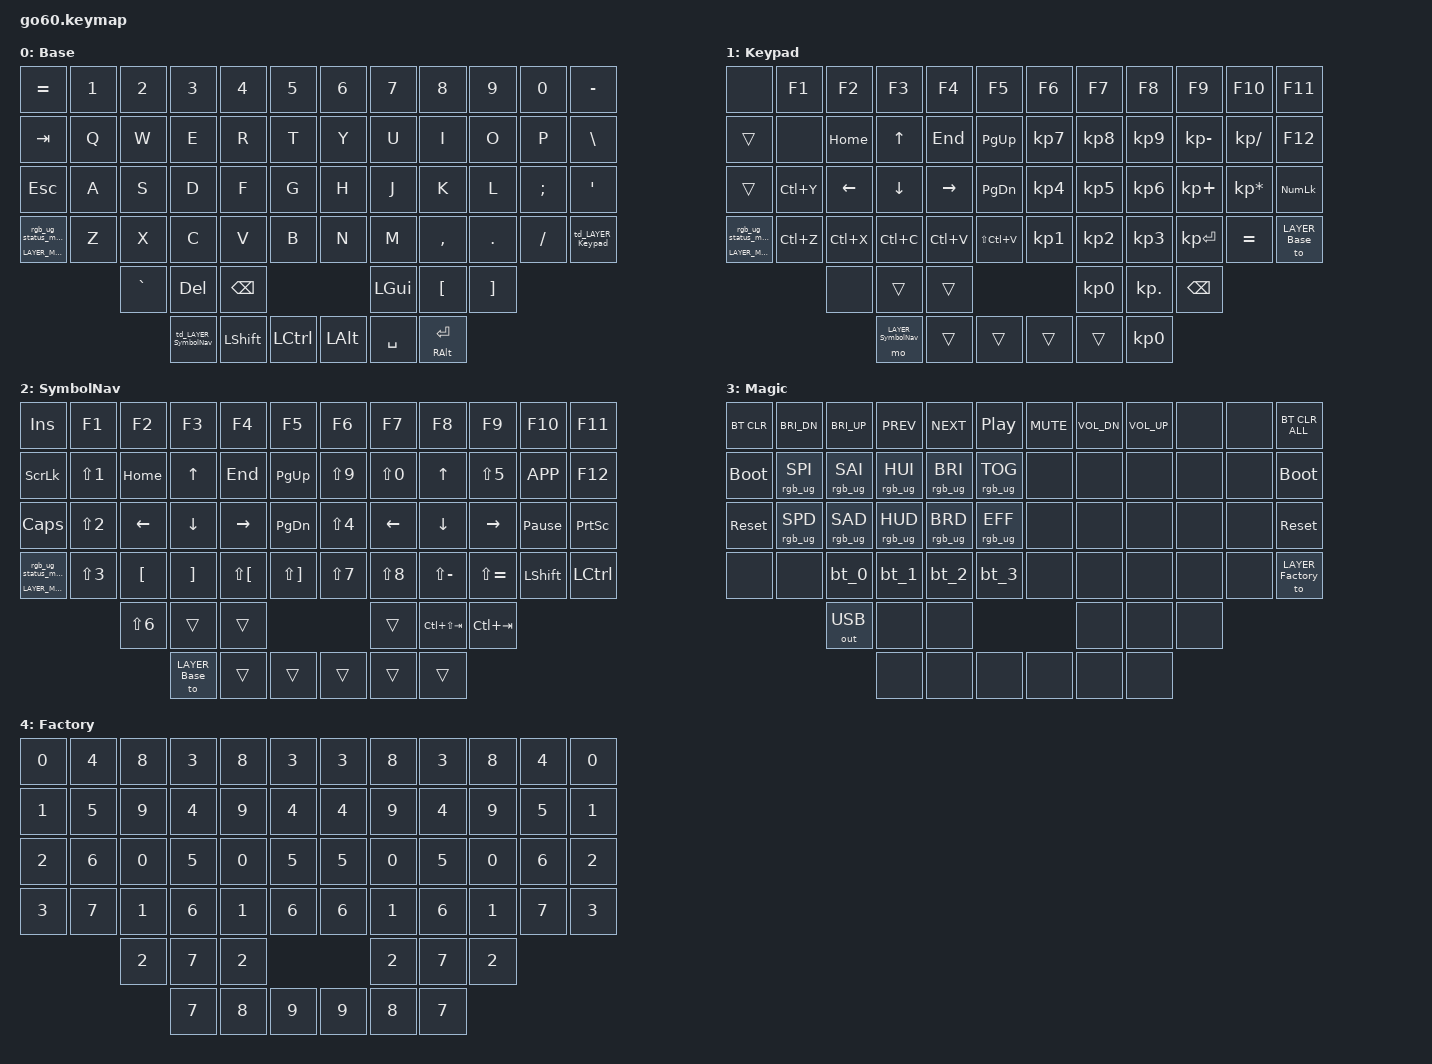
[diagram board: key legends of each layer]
/*
 * Go60 keymap: edit this file to change the layout, then run `go60-build` and `go60-flash`.
 * Started from the Layout Editor layout "Factory Default Layout" (49ea1794).
 *
 * Each layer's bindings are laid out like the keyboard, one text row per key row:
 *   R1-R4  left half C6 C5 C4 C3 C2 C1  |  right half C1 C2 C3 C4 C5 C6
 *          (C1 = inner index-finger column, C6 = outer pinky column; R1 = number row, R3 = home row)
 *   R5     the extra bottom keys: left C4 C3 C2  |  right C2 C3 C4
 *   T      thumb keys, in this order: left T1 T2 T3  |  right T3 T2 T1  (T1 = next to C2R5, T3 = nearest the middle)
 *
 * The // line under each row shows what the keys type with the Finnish layout (▽ = same as the base
 * layer, · = nothing). It's a comment for reading only; `go60-keymap format` refreshes it after edits.
 *
 * Every layer needs exactly 60 bindings. Common ones:
 *   &kp X            press key X (US key names: &kp LBKT types å with the Finnish layout)
 *   &kp RA(N7)       AltGr+7 = {     &kp LS(N7) = Shift+7 = /     (see go60-keys / finnish-layout.md)
 *   &mt LCTRL A      tap: A, hold: Ctrl          &mo LAYER_X   layer X while held
 *   &td_LAYER_X      hold: layer X, double-tap: lock layer X     &to LAYER_X   switch to layer X
 *   &trans           same as the layer below     &none         nothing
 *
 * Check your edits with `go60-keymap check` (validates and lists what changed since the last flash).
 * Put your own behaviors and macros in the "custom behaviors" section, not in the generated ones.
 */

#include <behaviors.dtsi>

#include <dt-bindings/zmk/bt.h>
#include <dt-bindings/zmk/ext_power.h>
#include <dt-bindings/zmk/keys.h>
#include <dt-bindings/zmk/outputs.h>
#include <dt-bindings/zmk/rgb.h>
#include <dt-bindings/zmk/input_transform.h>
#include <dt-bindings/zmk/pointing.h>

#include <input/processors.dtsi>
#include <zephyr/dt-bindings/input/input-event-codes.h>

// Layers (the number is the layer's position in the keymap below)
#define LAYER_Base 0
#define LAYER_Keypad 1
#define LAYER_SymbolNav 2
#define LAYER_Magic 3
#define LAYER_Factory 4

/ {
    input_processors {
        zip_click_to_right_click_mapper: zip_click_to_right_click_mapper {
            compatible = "zmk,input-processor-code-mapper";
            #input-processor-cells = <0>;
            type = <INPUT_EV_KEY>;
            map = <INPUT_BTN_0 INPUT_BTN_1>;
        };
    };

    // Standard MoErgo behaviors (generated; the Layout Editor provides these itself)
    behaviors {
        // Magic key: hold for the Magic layer, tap to show status on the RGB LEDs
        magic: magic {
            compatible = "zmk,behavior-hold-tap";
            #binding-cells = <2>;
            flavor = "tap-preferred";
            tapping-term-ms = <200>;
            bindings = <&mo>, <&rgb_ug_status_macro>;
        };

        // &td_LAYER_Keypad: hold for the Keypad layer, double-tap to lock it on
        td_LAYER_Keypad: td_LAYER_Keypad {
            compatible = "zmk,behavior-tap-dance";
            #binding-cells = <0>;
            tapping-term-ms = <200>;
            bindings = <&mo LAYER_Keypad>, <&to LAYER_Keypad>;
        };

        // &td_LAYER_SymbolNav: hold for the SymbolNav layer, double-tap to lock it on
        td_LAYER_SymbolNav: td_LAYER_SymbolNav {
            compatible = "zmk,behavior-tap-dance";
            #binding-cells = <0>;
            tapping-term-ms = <200>;
            bindings = <&mo LAYER_SymbolNav>, <&to LAYER_SymbolNav>;
        };

        // &bt_0: tap to use Bluetooth profile 0, double-tap to disconnect it
        bt_0: bt_0 {
            compatible = "zmk,behavior-tap-dance";
            #binding-cells = <0>;
            tapping-term-ms = <200>;
            bindings = <&bt_select_0>, <&bt BT_DISC 0>;
        };

        // &bt_1: tap to use Bluetooth profile 1, double-tap to disconnect it
        bt_1: bt_1 {
            compatible = "zmk,behavior-tap-dance";
            #binding-cells = <0>;
            tapping-term-ms = <200>;
            bindings = <&bt_select_1>, <&bt BT_DISC 1>;
        };

        // &bt_2: tap to use Bluetooth profile 2, double-tap to disconnect it
        bt_2: bt_2 {
            compatible = "zmk,behavior-tap-dance";
            #binding-cells = <0>;
            tapping-term-ms = <200>;
            bindings = <&bt_select_2>, <&bt BT_DISC 2>;
        };

        // &bt_3: tap to use Bluetooth profile 3, double-tap to disconnect it
        bt_3: bt_3 {
            compatible = "zmk,behavior-tap-dance";
            #binding-cells = <0>;
            tapping-term-ms = <200>;
            bindings = <&bt_select_3>, <&bt BT_DISC 3>;
        };
    };

    macros {
        rgb_ug_status_macro: rgb_ug_status_macro {
            compatible = "zmk,behavior-macro";
            #binding-cells = <0>;
            bindings = <&rgb_ug RGB_STATUS>;
        };

        bt_select_0: bt_select_0 {
            compatible = "zmk,behavior-macro";
            #binding-cells = <0>;
            bindings = <&out OUT_BLE>, <&bt BT_SEL 0>;
        };

        bt_select_1: bt_select_1 {
            compatible = "zmk,behavior-macro";
            #binding-cells = <0>;
            bindings = <&out OUT_BLE>, <&bt BT_SEL 1>;
        };

        bt_select_2: bt_select_2 {
            compatible = "zmk,behavior-macro";
            #binding-cells = <0>;
            bindings = <&out OUT_BLE>, <&bt BT_SEL 2>;
        };

        bt_select_3: bt_select_3 {
            compatible = "zmk,behavior-macro";
            #binding-cells = <0>;
            bindings = <&out OUT_BLE>, <&bt BT_SEL 3>;
        };
    };
};

/* go60-config: custom behaviors (kept when converting to Layout Editor JSON) */

/* go60-config: end of custom behaviors */

/ {
    keymap {
        compatible = "zmk,keymap";

        layer_Base {
            display-name = "Base";
            bindings = <
            /*    left  C6 C5 C4 C3 C2 C1  |  right C1 C2 C3 C4 C5 C6  (thumbs: left T1 T2 T3 | right T3 T2 T1) */
            /* R1 */ &kp EQUAL            &kp N1 &kp N2    &kp N3              &kp N4    &kp N5       &kp N6   &kp N7    &kp N8       &kp N9   &kp N0   &kp MINUS
            //       ´                    1      2         3                   4         5            6        7         8            9        0        +
            /* R2 */ &kp TAB              &kp Q  &kp W     &kp E               &kp R     &kp T        &kp Y    &kp U     &kp I        &kp O    &kp P    &kp BSLH
            //       Tab                  q      w         e                   r         t            y        u         i            o        p        '
            /* R3 */ &kp ESC              &kp A  &kp S     &kp D               &kp F     &kp G        &kp H    &kp J     &kp K        &kp L    &kp SEMI &kp SQT
            //       Esc                  a      s         d                   f         g            h        j         k            l        ö        ä
            /* R4 */ &magic LAYER_Magic 0 &kp Z  &kp X     &kp C               &kp V     &kp B        &kp N    &kp M     &kp COMMA    &kp DOT  &kp FSLH &td_LAYER_Keypad
            //       Magic                z      x         c                   v         b            n        m         ,            .        -        Keypad
            /* R5 */                             &kp GRAVE &kp DEL             &kp BSPC                        &kp LGUI  &kp LBKT     &kp RBKT
            //                                   §         Delete              Backspace                       Super     å            ¨
            /* T  */                                       &td_LAYER_SymbolNav &kp LSHFT &kp LCTRL    &kp LALT &kp SPACE &mt RALT RET
            //                                             SymbolNav           Shift     Ctrl         Alt      Space     Enter/AltGr
            >;
        };

        layer_Keypad {
            display-name = "Keypad";
            bindings = <
            /*    left  C6 C5 C4 C3 C2 C1  |  right C1 C2 C3 C4 C5 C6  (thumbs: left T1 T2 T3 | right T3 T2 T1) */
            /* R1 */ &none                &kp F1    &kp F2    &kp F3              &kp F4    &kp F5           &kp F6    &kp F7    &kp F8     &kp F9         &kp F10         &kp F11
            //       ·                    F1        F2        F3                  F4        F5               F6        F7        F8         F9             F10             F11
            /* R2 */ &trans               &none     &kp HOME  &kp UP              &kp END   &kp PG_UP        &kp KP_N7 &kp KP_N8 &kp KP_N9  &kp KP_MINUS   &kp KP_SLASH    &kp F12
            //       ▽                    ·         Home      ↑                   End       PgUp             7         8         9          -              /               F12
            /* R3 */ &trans               &kp LC(Y) &kp LEFT  &kp DOWN            &kp RIGHT &kp PG_DN        &kp KP_N4 &kp KP_N5 &kp KP_N6  &kp KP_PLUS    &kp KP_MULTIPLY &kp KP_NUM
            //       ▽                    Ctrl+Y    ←         ↓                   →         PgDn             4         5         6          +              *               Num_Lock
            /* R4 */ &magic LAYER_Magic 0 &kp LC(Z) &kp LC(X) &kp LC(C)           &kp LC(V) &kp LS(LC(V))    &kp KP_N1 &kp KP_N2 &kp KP_N3  &kp KP_ENTER   &kp EQUAL       &to LAYER_Base
            //       Magic                Ctrl+Z    Ctrl+X    Ctrl+C              Ctrl+V    Ctrl+Shift+V     1         2         3          Enter_(keypad) ´               Base
            /* R5 */                                &none     &trans              &trans                               &kp KP_N0 &kp KP_DOT &kp BSPC
            //                                      ·         ▽                   ▽                                    0         ,          Backspace
            /* T  */                                          &mo LAYER_SymbolNav &trans    &trans           &trans    &trans    &kp KP_N0
            //                                                SymbolNav           ▽         ▽                ▽         ▽         0
            >;
        };

        layer_SymbolNav {
            display-name = "SymbolNav";
            bindings = <
            /*    left  C6 C5 C4 C3 C2 C1  |  right C1 C2 C3 C4 C5 C6  (thumbs: left T1 T2 T3 | right T3 T2 T1) */
            /* R1 */ &kp INS              &kp F1     &kp F2     &kp F3         &kp F4       &kp F5          &kp F6     &kp F7     &kp F8          &kp F9        &kp F10         &kp F11
            //       Insert               F1         F2         F3             F4           F5              F6         F7         F8              F9            F10             F11
            /* R2 */ &kp SLCK             &kp LS(N1) &kp HOME   &kp UP         &kp END      &kp PG_UP       &kp LS(N9) &kp LS(N0) &kp UP          &kp LS(N5)    &kp K_APP       &kp F12
            //       Scroll_Lock          !          Home       ↑              End          PgUp            )          =          ↑               %             Menu            F12
            /* R3 */ &kp CAPS             &kp LS(N2) &kp LEFT   &kp DOWN       &kp RIGHT    &kp PG_DN       &kp LS(N4) &kp LEFT   &kp DOWN        &kp RIGHT     &kp PAUSE_BREAK &kp PSCRN
            //       Caps_Lock            "          ←          ↓              →            PgDn            ¤          ←          ↓               →             Pause           PrtSc
            /* R4 */ &magic LAYER_Magic 0 &kp LS(N3) &kp LBKT   &kp RBKT       &kp LS(LBKT) &kp LS(RBKT)    &kp LS(N7) &kp LS(N8) &kp LS(MINUS)   &kp LS(EQUAL) &kp LSHFT       &kp LCTRL
            //       Magic                #          å          ¨              Å            ^               /          (          ?               `             Shift           Ctrl
            /* R5 */                                 &kp LS(N6) &trans         &trans                                  &trans     &kp LC(LS(TAB)) &kp LC(TAB)
            //                                       &          ▽              ▽                                       ▽          Ctrl+Shift+Tab  Ctrl+Tab
            /* T  */                                            &to LAYER_Base &trans       &trans          &trans     &trans     &trans
            //                                                  Base           ▽            ▽               ▽          ▽          ▽
            >;
        };

        layer_Magic {
            display-name = "Magic";
            bindings = <
            /*    left  C6 C5 C4 C3 C2 C1  |  right C1 C2 C3 C4 C5 C6  (thumbs: left T1 T2 T3 | right T3 T2 T1) */
            /* R1 */ &bt BT_CLR  &kp C_BRI_DN    &kp C_BRI_UP    &kp C_PREV      &kp C_NEXT      &kp C_PP           &kp C_MUTE &kp C_VOL_DN &kp C_VOL_UP &none &none &bt BT_CLR_ALL
            //       BT_clear    Bright_−        Bright_+        Prev_track      Next_track      Play/Pause         Mute       Vol_−        Vol_+        ·     ·     BT_clear_all
            /* R2 */ &bootloader &rgb_ug RGB_SPI &rgb_ug RGB_SAI &rgb_ug RGB_HUI &rgb_ug RGB_BRI &rgb_ug RGB_TOG    &none      &none        &none        &none &none &bootloader
            //       Boot        SPI             SAI             HUI             BRI             TOG                ·          ·            ·            ·     ·     Boot
            /* R3 */ &sys_reset  &rgb_ug RGB_SPD &rgb_ug RGB_SAD &rgb_ug RGB_HUD &rgb_ug RGB_BRD &rgb_ug RGB_EFF    &none      &none        &none        &none &none &sys_reset
            //       Reset       SPD             SAD             HUD             BRD             EFF                ·          ·            ·            ·     ·     Reset
            /* R4 */ &none       &none           &bt_0           &bt_1           &bt_2           &bt_3              &none      &none        &none        &none &none &to LAYER_Factory
            //       ·           ·               BT_0            BT_1            BT_2            BT_3               ·          ·            ·            ·     ·     Factory
            /* R5 */                             &out OUT_USB    &none           &none                                         &none        &none        &none
            //                                   USB             ·               ·                                             ·            ·            ·
            /* T  */                                             &none           &none           &none              &none      &none        &none
            //                                                   ·               ·               ·                  ·          ·            ·
            >;
        };

        layer_Factory {
            display-name = "Factory";
            bindings = <
            /*    left  C6 C5 C4 C3 C2 C1  |  right C1 C2 C3 C4 C5 C6  (thumbs: left T1 T2 T3 | right T3 T2 T1) */
            /* R1 */ &kp N0 &kp N4 &kp N8 &kp N3 &kp N8 &kp N3    &kp N3 &kp N8 &kp N3 &kp N8 &kp N4 &kp N0
            //       0      4      8      3      8      3         3      8      3      8      4      0
            /* R2 */ &kp N1 &kp N5 &kp N9 &kp N4 &kp N9 &kp N4    &kp N4 &kp N9 &kp N4 &kp N9 &kp N5 &kp N1
            //       1      5      9      4      9      4         4      9      4      9      5      1
            /* R3 */ &kp N2 &kp N6 &kp N0 &kp N5 &kp N0 &kp N5    &kp N5 &kp N0 &kp N5 &kp N0 &kp N6 &kp N2
            //       2      6      0      5      0      5         5      0      5      0      6      2
            /* R4 */ &kp N3 &kp N7 &kp N1 &kp N6 &kp N1 &kp N6    &kp N6 &kp N1 &kp N6 &kp N1 &kp N7 &kp N3
            //       3      7      1      6      1      6         6      1      6      1      7      3
            /* R5 */               &kp N2 &kp N7 &kp N2                  &kp N2 &kp N7 &kp N2
            //                     2      7      2                       2      7      2
            /* T  */                      &kp N7 &kp N8 &kp N9    &kp N9 &kp N8 &kp N7
            //                            7      8      9         9      8      7
            >;
        };
    };
};

// Trackpad settings (Layout Editor: input listeners)
&cirque_rh_listener {
    input-processors = <&zip_xy_scaler 3 1>;
    layer_2 {
        layers = <2>;
        input-processors = <&zip_xy_scaler 9 1>;
    };
};

&cirque_lh_listener {
    input-processors = <&zip_xy_scaler 5 9>, <&zip_xy_transform INPUT_TRANSFORM_Y_INVERT>, <&zip_xy_to_scroll_mapper>, <&zip_click_to_right_click_mapper>;
    layer_4 {
        layers = <4>;
        input-processors = <&zip_xy_scaler 3 1>;
    };
};

/* go60-config: custom devicetree */

/* go60-config: end of custom devicetree */
